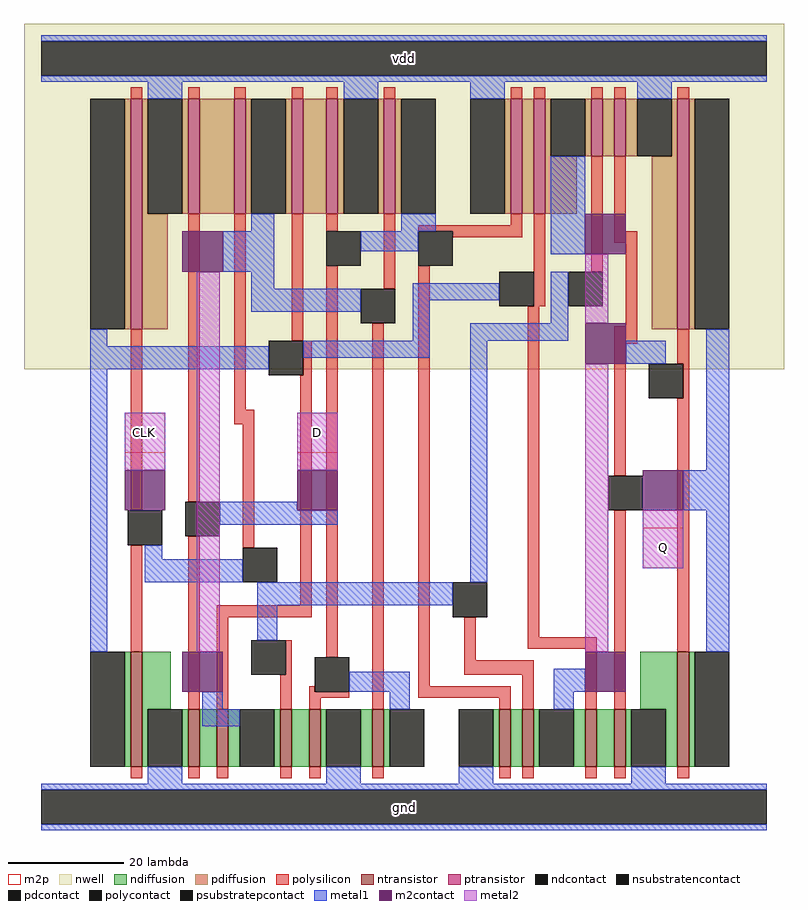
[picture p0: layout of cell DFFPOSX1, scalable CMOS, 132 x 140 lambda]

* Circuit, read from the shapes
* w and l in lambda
.subckt DFFPOSX1 D CLK Q vdd gnd
M1 gnd CLK n1 gnd nfet w=20 l=2
M2 n2 D gnd gnd nfet w=10 l=2
M3 n3 n1 n2 gnd nfet w=10 l=2
M4 n4 CLK n3 gnd nfet w=10 l=2
M5 gnd n5 n4 gnd nfet w=10 l=2
M6 n5 n3 gnd gnd nfet w=10 l=2
M7 n6 n5 gnd gnd nfet w=10 l=2
M8 n7 CLK n6 gnd nfet w=10 l=2
M9 n8 n1 n7 gnd nfet w=10 l=2
M10 gnd Q n8 gnd nfet w=10 l=2
M11 Q n7 gnd gnd nfet w=20 l=2
M12 vdd CLK n1 vdd pfet w=40 l=2
M13 n9 D vdd vdd pfet w=20 l=2
M14 n3 CLK n9 vdd pfet w=20 l=2
M15 n10 n1 n3 vdd pfet w=20 l=2
M16 vdd n5 n10 vdd pfet w=20 l=2
M17 n5 n3 vdd vdd pfet w=20 l=2
M18 n11 n5 vdd vdd pfet w=20 l=2
M19 n7 n1 n11 vdd pfet w=20 l=2
M20 n12 CLK n7 vdd pfet w=10 l=2
M21 vdd Q n12 vdd pfet w=10 l=2
M22 Q n7 vdd vdd pfet w=40 l=2
.ends

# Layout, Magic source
magic
tech scmos
magscale 1 2
<< nwell >>
rect -12 152 252 272
<< ntransistor >>
rect 25 14 29 54
rect 45 14 49 34
rect 55 14 59 34
rect 77 14 81 34
rect 87 14 91 34
rect 109 14 113 34
rect 153 14 157 34
rect 161 14 165 34
rect 183 14 187 34
rect 193 14 197 34
rect 215 14 219 54
<< ptransistor >>
rect 25 166 29 246
rect 45 206 49 246
rect 61 206 65 246
rect 81 206 85 246
rect 93 206 97 246
rect 113 206 117 246
rect 157 206 161 246
rect 165 206 169 246
rect 185 226 189 246
rect 193 226 197 246
rect 215 166 219 246
<< ndiffusion >>
rect 23 14 25 54
rect 29 34 39 54
rect 202 34 215 54
rect 29 14 31 34
rect 43 14 45 34
rect 49 14 55 34
rect 59 14 63 34
rect 75 14 77 34
rect 81 14 87 34
rect 91 14 93 34
rect 105 14 109 34
rect 113 14 115 34
rect 151 14 153 34
rect 157 14 161 34
rect 165 14 167 34
rect 179 14 183 34
rect 187 14 193 34
rect 197 14 199 34
rect 211 14 215 34
rect 219 14 221 54
<< pdiffusion >>
rect 23 166 25 246
rect 29 206 31 246
rect 43 206 45 246
rect 49 206 61 246
rect 65 206 67 246
rect 79 206 81 246
rect 85 206 93 246
rect 97 206 99 246
rect 111 206 113 246
rect 117 206 119 246
rect 155 206 157 246
rect 161 206 165 246
rect 169 226 171 246
rect 183 226 185 246
rect 189 226 193 246
rect 197 226 201 246
rect 213 226 215 246
rect 169 206 180 226
rect 29 166 38 206
rect 206 166 215 226
rect 219 166 221 246
<< ndcontact >>
rect 11 14 23 54
rect 31 14 43 34
rect 63 14 75 34
rect 93 14 105 34
rect 115 14 127 34
rect 139 14 151 34
rect 167 14 179 34
rect 199 14 211 34
rect 221 14 233 54
<< pdcontact >>
rect 11 166 23 246
rect 31 206 43 246
rect 67 206 79 246
rect 99 206 111 246
rect 119 206 131 246
rect 143 206 155 246
rect 171 226 183 246
rect 201 226 213 246
rect 221 166 233 246
<< psubstratepcontact >>
rect -6 -6 246 6
<< nsubstratencontact >>
rect -6 254 246 266
<< polysilicon >>
rect 25 246 29 250
rect 45 246 49 250
rect 61 246 65 250
rect 81 246 85 250
rect 93 246 97 250
rect 113 246 117 250
rect 157 246 161 250
rect 165 246 169 250
rect 185 246 189 250
rect 193 246 197 250
rect 215 246 219 250
rect 25 103 29 166
rect 45 106 49 206
rect 61 138 65 206
rect 81 162 85 206
rect 93 200 97 206
rect 85 150 88 162
rect 61 133 68 138
rect 25 54 29 91
rect 45 34 49 94
rect 64 90 68 133
rect 84 70 88 150
rect 55 66 88 70
rect 55 34 59 66
rect 79 46 81 58
rect 93 52 97 188
rect 113 180 117 206
rect 157 202 161 206
rect 125 200 161 202
rect 137 198 161 200
rect 77 34 81 46
rect 87 40 89 42
rect 87 38 101 40
rect 87 34 91 38
rect 109 34 113 168
rect 125 42 129 188
rect 165 174 169 206
rect 185 186 189 226
rect 193 200 197 226
rect 193 196 201 200
rect 141 51 145 66
rect 163 59 167 174
rect 197 167 201 196
rect 193 161 201 167
rect 193 115 197 161
rect 215 154 219 166
rect 217 142 219 154
rect 163 55 187 59
rect 141 46 165 51
rect 125 38 157 42
rect 153 34 157 38
rect 161 34 165 46
rect 183 34 187 55
rect 193 34 197 103
rect 215 54 219 142
rect 25 10 29 14
rect 45 10 49 14
rect 55 10 59 14
rect 77 10 81 14
rect 87 10 91 14
rect 109 10 113 14
rect 153 10 157 14
rect 161 10 165 14
rect 183 10 187 14
rect 193 10 197 14
rect 215 10 219 14
<< polycontact >>
rect 93 188 105 200
rect 73 150 85 162
rect 24 91 36 103
rect 44 94 56 106
rect 64 78 76 90
rect 67 46 79 58
rect 105 168 117 180
rect 125 188 137 200
rect 89 40 101 52
rect 153 174 165 186
rect 177 174 189 186
rect 137 66 149 78
rect 205 142 217 154
rect 191 103 203 115
<< metal1 >>
rect -6 266 246 268
rect -6 252 246 254
rect 31 246 43 252
rect 99 246 111 252
rect 143 246 155 252
rect 201 246 213 252
rect 67 200 75 206
rect 119 200 131 206
rect 57 186 75 200
rect 105 193 125 200
rect 171 192 183 226
rect 67 180 75 186
rect 67 172 105 180
rect 123 176 153 182
rect 11 160 17 166
rect 123 162 129 176
rect 171 168 177 186
rect 11 152 73 160
rect 11 54 17 152
rect 85 156 129 162
rect 143 162 177 168
rect 56 103 83 106
rect 56 98 97 103
rect 30 86 36 91
rect 30 78 64 86
rect 143 78 149 162
rect 197 154 211 162
rect 225 117 233 166
rect 217 103 233 117
rect 69 70 137 78
rect 69 58 76 70
rect 225 54 233 103
rect 101 40 122 47
rect 50 34 57 40
rect 115 34 122 40
rect 172 40 183 48
rect 172 34 179 40
rect 50 28 63 34
rect 31 8 43 14
rect 93 8 105 14
rect 139 8 151 14
rect 199 8 211 14
rect -6 6 246 8
rect -6 -8 246 -6
<< m2contact >>
rect 43 186 57 200
rect 183 192 197 206
rect 23 103 37 117
rect 83 103 97 117
rect 183 154 197 168
rect 203 103 217 117
rect 43 40 57 54
rect 183 40 197 54
<< metal2 >>
rect 23 117 37 137
rect 48 54 56 186
rect 183 168 191 192
rect 83 117 97 137
rect 183 54 191 154
rect 203 83 217 103
<< m2p >>
rect 23 123 37 137
rect 83 123 97 137
rect 203 83 217 97
<< labels >>
rlabel metal2 83 123 97 137 0 D
port 0 nsew signal input
rlabel metal2 23 123 37 137 0 CLK
port 1 nsew clock input
rlabel metal2 203 83 217 97 0 Q
port 2 nsew signal output
rlabel metal1 -6 252 246 268 0 vdd
port 3 nsew power bidirectional abutment
rlabel metal1 -6 -8 246 8 0 gnd
port 4 nsew ground bidirectional abutment
<< properties >>
string FIXED_BBOX 0 0 240 260
string LEFclass CORE
string LEFsite core
string LEFsymmetry X Y
<< end >>
